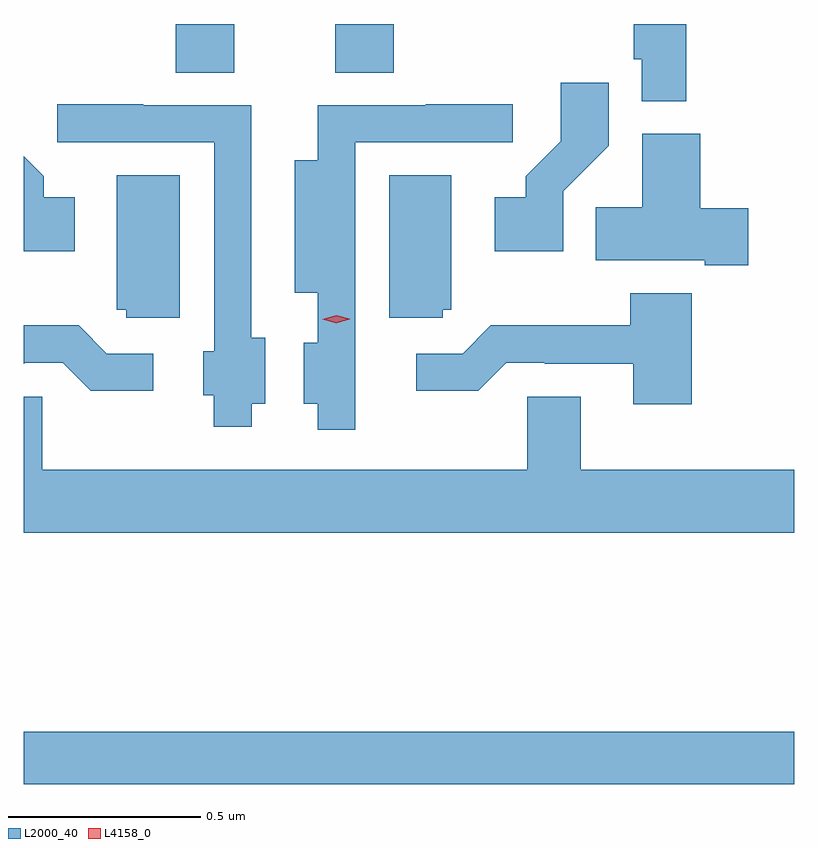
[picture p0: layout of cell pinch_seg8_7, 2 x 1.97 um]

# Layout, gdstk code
import gdstk
lib = gdstk.Library(unit=1e-6, precision=1e-09)
def R(c, l, rs):  # rectangles x0, y0, x1, y1
    for r in rs: c.add(gdstk.rectangle(r[:2], r[2:], *l))
def P(c, l, *ps):  # polygons
    for p in ps: c.add(gdstk.Polygon(p, *l))
L2000_40 = (2000, 40)
L4158_0 = (4158, 0)

pinch_seg8_7 = lib.new_cell('pinch_seg8_7')
R(pinch_seg8_7, L2000_40, [(1053.523,1123.84,1055.523,1123.976), (1053.917,1125.688,1054.069,1125.814), (1054.331,1125.688,1054.484,1125.814)])
P(pinch_seg8_7, L2000_40, [(1055.243,1125.814),(1055.107,1125.814),(1055.107,1125.723),(1055.127,1125.723),(1055.127,1125.614),(1055.243,1125.614)],
  [(1054.923,1125.379),(1055.042,1125.498),(1055.042,1125.661),(1054.917,1125.661),(1054.917,1125.509),(1054.826,1125.419),(1054.826,1125.364),(1054.746,1125.364),(1054.746,1125.224),(1054.923,1125.224)],
  [(1054.114,1124.828),(1054.15,1124.828),(1054.15,1124.999),(1054.113,1124.999),(1054.113,1125.603),(1053.833,1125.603),(1053.833,1125.606),(1053.609,1125.606),(1053.609,1125.507),(1054.017,1125.507),(1054.017,1124.964),(1053.989,1124.964),(1053.989,1124.85),(1054.016,1124.85),(1054.016,1124.768),(1054.114,1124.768)],
  [(1054.384,1124.982),(1054.383,1124.982),(1054.383,1125.507),(1054.792,1125.507),(1054.792,1125.606),(1054.567,1125.606),(1054.567,1125.603),(1054.286,1125.603),(1054.286,1125.46),(1054.226,1125.46),(1054.226,1125.116),(1054.286,1125.116),(1054.286,1124.986),(1054.25,1124.986),(1054.25,1124.828),(1054.286,1124.828),(1054.286,1124.76),(1054.384,1124.76)],
  [(1055.404,1125.335),(1055.279,1125.335),(1055.279,1125.529),(1055.129,1125.529),(1055.129,1125.338),(1055.008,1125.338),(1055.008,1125.2),(1055.291,1125.2),(1055.291,1125.188),(1055.404,1125.188)],
  [(1053.655,1125.364),(1053.574,1125.364),(1053.574,1125.419),(1053.523,1125.47),(1053.523,1125.224),(1053.655,1125.224)],
  [(1053.928,1125.421),(1053.764,1125.421),(1053.764,1125.072),(1053.789,1125.072),(1053.789,1125.051),(1053.928,1125.051)],
  [(1054.611,1125.072),(1054.633,1125.072),(1054.633,1125.421),(1054.472,1125.421),(1054.472,1125.051),(1054.611,1125.051)],
  [(1055.257,1125.115),(1055.098,1125.115),(1055.098,1125.031),(1054.735,1125.031),(1054.662,1124.958),(1054.542,1124.958),(1054.542,1124.861),(1054.703,1124.861),(1054.776,1124.934),(1054.876,1124.934),(1054.876,1124.931),(1055.105,1124.931),(1055.105,1124.826),(1055.257,1124.826)],
  [(1053.859,1124.958),(1053.738,1124.958),(1053.665,1125.031),(1053.523,1125.031),(1053.523,1124.931),(1053.524,1124.931),(1053.524,1124.934),(1053.624,1124.934),(1053.697,1124.861),(1053.859,1124.861)],
  [(1055.523,1124.656),(1054.969,1124.656),(1054.969,1124.846),(1054.83,1124.846),(1054.83,1124.656),(1053.57,1124.656),(1053.57,1124.846),(1053.523,1124.846),(1053.523,1124.492),(1055.523,1124.492)])
P(pinch_seg8_7, L4158_0, [(1054.334,1125.037),(1054.298,1125.047),(1054.298,1125.047),(1054.298,1125.047),(1054.334,1125.057),(1054.369,1125.048),(1054.369,1125.048),(1054.369,1125.047)])

lib.write_gds('pinch_seg8_7.gds')
